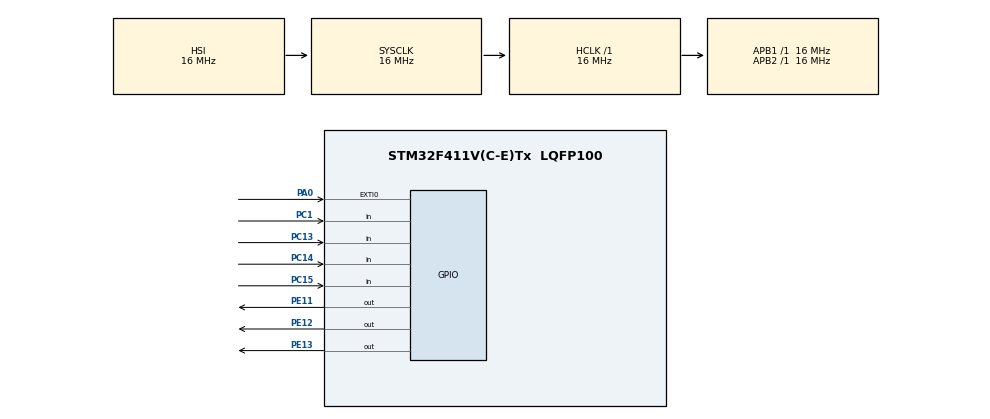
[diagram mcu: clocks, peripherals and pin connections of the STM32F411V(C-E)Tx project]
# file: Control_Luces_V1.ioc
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Mcu.Family=STM32F4
Mcu.Name=STM32F411V(C-E)Tx
Mcu.Package=LQFP100
NVIC.EXTI0_IRQn=true\:0\:0\:false\:true\:true\:1\:true
NVIC.PriorityGroup=NVIC_PRIORITYGROUP_4
PA0-WKUP.Signal=GPXTI0
PC1.Signal=GPIO_Input
PC13-ANTI_TAMP.Signal=GPIO_Input
PC14-OSC32_IN.Signal=GPIO_Input
PC15-OSC32_OUT.Signal=GPIO_Input
PE11.Signal=GPIO_Output
PE12.Signal=GPIO_Output
PE13.Signal=GPIO_Output
ProjectManager.HeapSize=0x200
ProjectManager.StackSize=0x400
ProjectManager.TargetToolchain=MDK-ARM V5
RCC.AHBFreq_Value=16000000
RCC.APB1Freq_Value=16000000
RCC.APB2Freq_Value=16000000
RCC.CortexFreq_Value=16000000
RCC.HSE_VALUE=25000000
RCC.HSI_VALUE=16000000
RCC.LSE_VALUE=32768
RCC.SYSCLKFreq_VALUE=16000000
RCC.VCOOutputFreq_Value=192000000
board=custom

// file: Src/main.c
/* USER CODE BEGIN Header */
/**
  ******************************************************************************
  * @file           : main.c
  * @brief          : Main program body
  ******************************************************************************
  ** This notice applies to any and all portions of this file
  * that are not between comment pairs USER CODE BEGIN and
  * USER CODE END. Other portions of this file, whether
  * inserted by the user or by software development tools
  * are owned by their respective copyright owners.
  *
  * COPYRIGHT(c) 2018 STMicroelectronics
  *
  * Redistribution and use in source and binary forms, with or without modification,
  * are permitted provided that the following conditions are met:
  *   1. Redistributions of source code must retain the above copyright notice,
  *      this list of conditions and the following disclaimer.
  *   2. Redistributions in binary form must reproduce the above copyright notice,
  *      this list of conditions and the following disclaimer in the documentation
  *      and/or other materials provided with the distribution.
  *   3. Neither the name of STMicroelectronics nor the names of its contributors
  *      may be used to endorse or promote products derived from this software
  *      without specific prior written permission.
  *
  * THIS SOFTWARE IS PROVIDED BY THE COPYRIGHT HOLDERS AND CONTRIBUTORS "AS IS"
  * AND ANY EXPRESS OR IMPLIED WARRANTIES, INCLUDING, BUT NOT LIMITED TO, THE
  * IMPLIED WARRANTIES OF MERCHANTABILITY AND FITNESS FOR A PARTICULAR PURPOSE ARE
  * DISCLAIMED. IN NO EVENT SHALL THE COPYRIGHT HOLDER OR CONTRIBUTORS BE LIABLE
  * FOR ANY DIRECT, INDIRECT, INCIDENTAL, SPECIAL, EXEMPLARY, OR CONSEQUENTIAL
  * DAMAGES (INCLUDING, BUT NOT LIMITED TO, PROCUREMENT OF SUBSTITUTE GOODS OR
  * SERVICES; LOSS OF USE, DATA, OR PROFITS; OR BUSINESS INTERRUPTION) HOWEVER
  * CAUSED AND ON ANY THEORY OF LIABILITY, WHETHER IN CONTRACT, STRICT LIABILITY,
  * OR TORT (INCLUDING NEGLIGENCE OR OTHERWISE) ARISING IN ANY WAY OUT OF THE USE
  * OF THIS SOFTWARE, EVEN IF ADVISED OF THE POSSIBILITY OF SUCH DAMAGE.
  *
  ******************************************************************************
  */
/* USER CODE END Header */

#include "main.h"

/* USER CODE BEGIN PV */
volatile int INTERRUPT = 0;
int user_mode = 0;
/* USER CODE END PV */

void SystemClock_Config(void);
static void MX_GPIO_Init(void);
static void MX_NVIC_Init(void);

int main(void)
{

  /* MCU Configuration--------------------------------------------------------*/

  /* Reset of all peripherals, Initializes the Flash interface and the Systick. */
  HAL_Init();

  /* Configure the system clock */
  SystemClock_Config();

  /* Initialize all configured peripherals */
  MX_GPIO_Init();

  /* Initialize interrupts */
  MX_NVIC_Init();
  /* USER CODE BEGIN 2 */
	user_mode = 0;
	INTERRUPT = 0;
  /* USER CODE END 2 */

  /* Infinite loop */
  while (1)
  {
    /* USER CODE BEGIN 3 */

		if (INTERRUPT == 0){

			//Cambio de user_mode por PC1
			if (HAL_GPIO_ReadPin(GPIOC, GPIO_PIN_1) == 0){

				if (user_mode == 0){
					HAL_GPIO_WritePin(GPIOE, GPIO_PIN_11, GPIO_PIN_RESET);
					HAL_GPIO_WritePin(GPIOE, GPIO_PIN_12, GPIO_PIN_RESET);
					HAL_GPIO_WritePin(GPIOE, GPIO_PIN_13, GPIO_PIN_RESET);
					user_mode = 1;
				}

				else if (user_mode == 1){
					HAL_GPIO_WritePin(GPIOE, GPIO_PIN_11, GPIO_PIN_RESET);
					HAL_GPIO_WritePin(GPIOE, GPIO_PIN_12, GPIO_PIN_RESET);
					HAL_GPIO_WritePin(GPIOE, GPIO_PIN_13, GPIO_PIN_RESET);
					user_mode = 0;
				}
			}

			//Usuario en modo manual
			if (user_mode == 0){

				if (HAL_GPIO_ReadPin(GPIOC, GPIO_PIN_15) == 0){
					HAL_GPIO_TogglePin(GPIOE, GPIO_PIN_11);
				}

				else if (HAL_GPIO_ReadPin(GPIOC, GPIO_PIN_14) == 0){
					HAL_GPIO_TogglePin(GPIOE, GPIO_PIN_12);
				}

				else if (HAL_GPIO_ReadPin(GPIOC, GPIO_PIN_13) == 0){
					HAL_GPIO_TogglePin(GPIOE, GPIO_PIN_13);
				}
			}

			//Usuario en modo automАtico
			else if (user_mode == 1){
				HAL_GPIO_TogglePin(GPIOE, GPIO_PIN_11);
				HAL_Delay(1500);

				HAL_GPIO_TogglePin(GPIOE, GPIO_PIN_13);
				HAL_GPIO_TogglePin(GPIOE, GPIO_PIN_12);
				HAL_Delay(1500);

				HAL_GPIO_TogglePin(GPIOE, GPIO_PIN_13);
				HAL_GPIO_TogglePin(GPIOE, GPIO_PIN_11);
				HAL_Delay(1500);

				HAL_GPIO_TogglePin(GPIOE, GPIO_PIN_12);
				HAL_Delay(1500);
			}
		}

		else if (INTERRUPT == 1){ //Modo standby
			HAL_GPIO_TogglePin(GPIOE, GPIO_PIN_11);
			HAL_GPIO_TogglePin(GPIOE, GPIO_PIN_12);
			HAL_GPIO_TogglePin(GPIOE, GPIO_PIN_13);
			HAL_Delay(200);
		}

  }
  /* USER CODE END 3 */
}

void SystemClock_Config(void)
{
  RCC_OscInitTypeDef RCC_OscInitStruct = {0};
  RCC_ClkInitTypeDef RCC_ClkInitStruct = {0};

  /**Configure the main internal regulator output voltage
  */
  __HAL_RCC_PWR_CLK_ENABLE();
  __HAL_PWR_VOLTAGESCALING_CONFIG(PWR_REGULATOR_VOLTAGE_SCALE1);
  /**Initializes the CPU, AHB and APB busses clocks
  */
  RCC_OscInitStruct.OscillatorType = RCC_OSCILLATORTYPE_HSI;
  RCC_OscInitStruct.HSIState = RCC_HSI_ON;
  RCC_OscInitStruct.HSICalibrationValue = RCC_HSICALIBRATION_DEFAULT;
  RCC_OscInitStruct.PLL.PLLState = RCC_PLL_NONE;
  if (HAL_RCC_OscConfig(&RCC_OscInitStruct) != HAL_OK)
  {
    Error_Handler();
  }
  /**Initializes the CPU, AHB and APB busses clocks
  */
  RCC_ClkInitStruct.ClockType = RCC_CLOCKTYPE_HCLK|RCC_CLOCKTYPE_SYSCLK
                              |RCC_CLOCKTYPE_PCLK1|RCC_CLOCKTYPE_PCLK2;
  RCC_ClkInitStruct.SYSCLKSource = RCC_SYSCLKSOURCE_HSI;
  RCC_ClkInitStruct.AHBCLKDivider = RCC_SYSCLK_DIV1;
  RCC_ClkInitStruct.APB1CLKDivider = RCC_HCLK_DIV1;
  RCC_ClkInitStruct.APB2CLKDivider = RCC_HCLK_DIV1;

  if (HAL_RCC_ClockConfig(&RCC_ClkInitStruct, FLASH_LATENCY_0) != HAL_OK)
  {
    Error_Handler();
  }
}

/**
  * @brief NVIC Configuration.
  * @retval None
  */
static void MX_NVIC_Init(void)
{
  /* EXTI0_IRQn interrupt configuration */
  HAL_NVIC_SetPriority(EXTI0_IRQn, 0, 0);
  HAL_NVIC_EnableIRQ(EXTI0_IRQn);
}

static void MX_GPIO_Init(void)
{
  GPIO_InitTypeDef GPIO_InitStruct = {0};

  /* GPIO Ports Clock Enable */
  __HAL_RCC_GPIOC_CLK_ENABLE();
  __HAL_RCC_GPIOA_CLK_ENABLE();
  __HAL_RCC_GPIOE_CLK_ENABLE();

  /*Configure GPIO pin Output Level */
  HAL_GPIO_WritePin(GPIOE, GPIO_PIN_11|GPIO_PIN_12|GPIO_PIN_13, GPIO_PIN_RESET);

  /*Configure GPIO pins : PC13 PC14 PC15 PC1 */
  GPIO_InitStruct.Pin = GPIO_PIN_13|GPIO_PIN_14|GPIO_PIN_15|GPIO_PIN_1;
  GPIO_InitStruct.Mode = GPIO_MODE_INPUT;
  GPIO_InitStruct.Pull = GPIO_NOPULL;
  HAL_GPIO_Init(GPIOC, &GPIO_InitStruct);

  /*Configure GPIO pin : PA0 */
  GPIO_InitStruct.Pin = GPIO_PIN_0;
  GPIO_InitStruct.Mode = GPIO_MODE_IT_RISING;
  GPIO_InitStruct.Pull = GPIO_NOPULL;
  HAL_GPIO_Init(GPIOA, &GPIO_InitStruct);

  /*Configure GPIO pins : PE11 PE12 PE13 */
  GPIO_InitStruct.Pin = GPIO_PIN_11|GPIO_PIN_12|GPIO_PIN_13;
  GPIO_InitStruct.Mode = GPIO_MODE_OUTPUT_PP;
  GPIO_InitStruct.Pull = GPIO_NOPULL;
  GPIO_InitStruct.Speed = GPIO_SPEED_FREQ_LOW;
  HAL_GPIO_Init(GPIOE, &GPIO_InitStruct);

}

/* USER CODE BEGIN 4 */
void HAL_GPIO_EXTI_Callback(uint16_t GPIO_Pin)
{
	if (INTERRUPT == 0){
		HAL_GPIO_WritePin(GPIOE, GPIO_PIN_11, GPIO_PIN_RESET);
		HAL_GPIO_WritePin(GPIOE, GPIO_PIN_12, GPIO_PIN_RESET);
		HAL_GPIO_WritePin(GPIOE, GPIO_PIN_13, GPIO_PIN_RESET);
		INTERRUPT = 1;
	}

	else if(INTERRUPT == 1){
		HAL_GPIO_WritePin(GPIOE, GPIO_PIN_11, GPIO_PIN_RESET);
		HAL_GPIO_WritePin(GPIOE, GPIO_PIN_12, GPIO_PIN_RESET);
		HAL_GPIO_WritePin(GPIOE, GPIO_PIN_13, GPIO_PIN_RESET);
		INTERRUPT = 0;
	}
}
/* USER CODE END 4 */

void Error_Handler(void)
{
}

/************************ (C) COPYRIGHT STMicroelectronics *****END OF FILE****/
